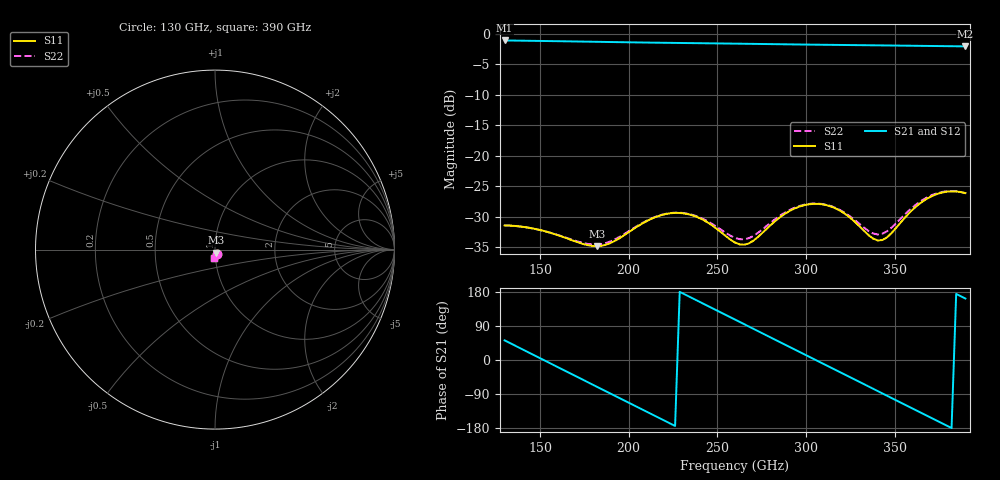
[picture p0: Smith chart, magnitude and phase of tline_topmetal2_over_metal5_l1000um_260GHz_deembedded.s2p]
! Created with skrf 2.2.0 (http://scikit-rf.org).
# GHz S DB R 50.0
! Port[1] = P1
! Port[2] = P2
!freq dBS11 angS11 dBS21 angS21 dBS12 angS12 dBS22 angS22
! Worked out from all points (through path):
!   101 points, 130 GHz to 390 GHz, reference 50 ohm
!   highest |S21| = -1.09 dB at 130 GHz (marker M1); lowest = -2.1 dB at 390 GHz (marker M2)
!   group delay of S21, straight-line fit = 6.51 ps
!   lowest |S11| = -34.8 dB at 182 GHz (marker M3), VSWR 1.04, Z = 50.5 - j1.76 ohm
!   |S11| at or under -10 dB: start of sweep to end of sweep
!   |S22| runs from -34.6 to -25.8 dB; largest |S21 - S12| = 1.5e-13
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130  -31.43 -70.2  -1.09 51.8  -1.09 51.8  -31.43 -70.7
140.4  -31.66 -77.0  -1.13 27.4  -1.13 27.4  -31.66 -77.6
150.8  -32.24 -82.4  -1.18 2.9  -1.18 2.9  -32.24 -82.7
161.2  -33.14 -85.1  -1.22 -21.6  -1.22 -21.6  -33.11 -85.1
174.2  -34.46 -81.6  -1.28 -52.1  -1.28 -52.1  -34.29 -81.4
182  -34.83 -74.4  -1.31 -70.5  -1.31 -70.5  -34.56 -74.7
200.2  -32.50 -60.7  -1.40 -113.1  -1.40 -113.1  -32.34 -62.2
218.4  -29.74 -71.6  -1.47 -155.8  -1.47 -155.8  -29.70 -72.3
236.6  -29.83 -91.4  -1.53 161.6  -1.53 161.6  -29.75 -90.6
249.6  -31.97 -99.0  -1.58 131.1  -1.58 131.1  -31.64 -97.1
260  -34.24 -90.3  -1.62 106.7  -1.62 106.7  -33.48 -89.2
270.4  -33.93 -69.2  -1.66 82.3  -1.66 82.3  -33.14 -71.9
280.8  -31.20 -61.6  -1.70 57.9  -1.70 57.9  -30.82 -65.3
293.8  -28.63 -70.3  -1.74 27.5  -1.74 27.5  -28.51 -73.0
304.2  -27.89 -82.4  -1.78 3.1  -1.78 3.1  -27.83 -84.1
314.6  -28.37 -94.6  -1.82 -21.2  -1.82 -21.2  -28.30 -95.2
327.6  -30.84 -103.1  -1.86 -51.7  -1.86 -51.7  -30.55 -101.9
340.6  -33.90 -84.2  -1.90 -82.1  -1.90 -82.1  -32.91 -84.6
348.4  -32.66 -64.5  -1.92 -100.4  -1.92 -100.4  -31.77 -68.7
358.8  -29.24 -59.0  -1.96 -124.8  -1.96 -124.8  -28.81 -64.3
371.8  -26.53 -70.8  -2.00 -155.2  -2.00 -155.2  -26.37 -75.5
390  -26.13 -94.7  -2.06 162.2  -2.06 162.2  -26.14 -98.7
